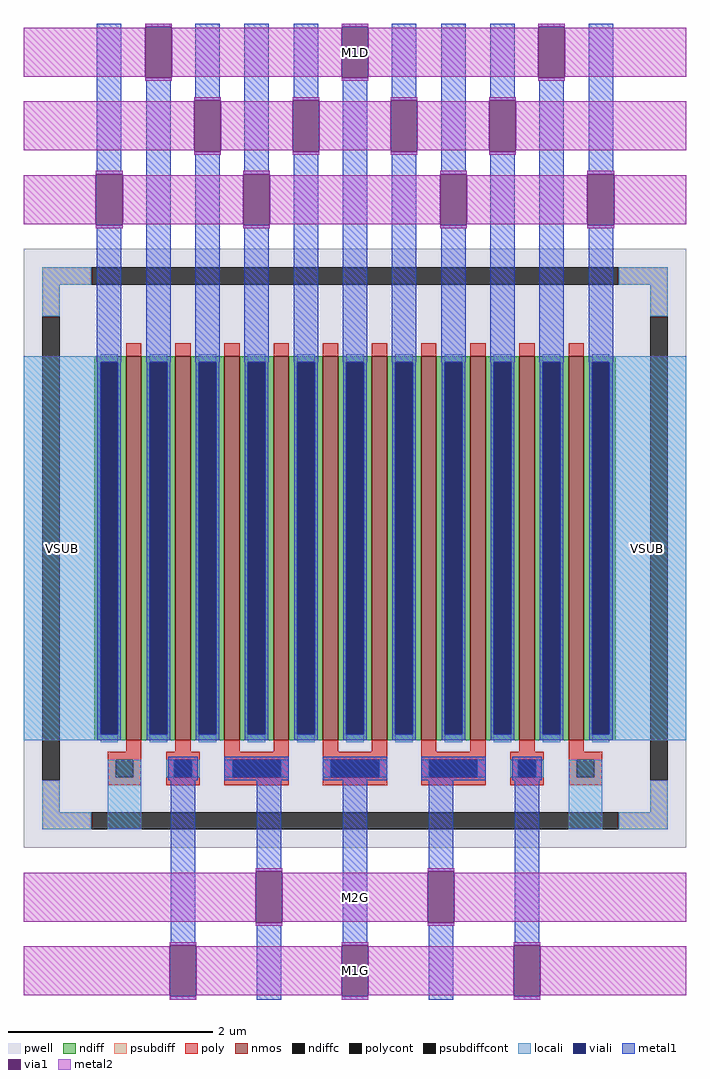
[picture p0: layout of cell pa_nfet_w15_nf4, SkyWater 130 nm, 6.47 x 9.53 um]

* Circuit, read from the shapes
.subckt pa_nfet_w15_nf4 VSUB M1G M2G M1D
XM1 M1D VSUB VSUB VSUB sky130_fd_pr__nfet_01v8 w=3.75 l=0.15 m=2
XM2 n1 M1G M1D VSUB sky130_fd_pr__nfet_01v8 w=3.75 l=0.15 m=4
XM3 VSUB M2G n1 VSUB sky130_fd_pr__nfet_01v8 w=3.75 l=0.15 m=4
.ends

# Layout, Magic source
magic
tech sky130A
magscale 1 2
<< pwell >>
rect -134 188 -24 938
rect 1050 188 1160 938
rect 30 14 96 150
rect 930 14 996 150
<< locali >>
rect -134 188 16 938
rect 1010 188 1160 938
rect 30 14 96 150
rect 930 14 996 150
<< metal1 >>
rect 9 1300 57 1588
rect 103 1582 155 1588
rect 103 1476 155 1482
rect 7 1294 59 1300
rect 7 1188 59 1194
rect 9 926 57 1188
rect 105 926 153 1476
rect 201 1444 249 1588
rect 199 1438 251 1444
rect 199 1332 251 1338
rect 201 926 249 1332
rect 297 1300 345 1588
rect 393 1444 441 1588
rect 487 1582 539 1588
rect 487 1476 539 1482
rect 391 1438 443 1444
rect 391 1332 443 1338
rect 295 1294 347 1300
rect 295 1188 347 1194
rect 297 926 345 1188
rect 393 926 441 1332
rect 489 926 537 1476
rect 585 1444 633 1588
rect 583 1438 635 1444
rect 583 1332 635 1338
rect 585 926 633 1332
rect 681 1300 729 1588
rect 777 1444 825 1588
rect 871 1582 923 1588
rect 871 1476 923 1482
rect 775 1438 827 1444
rect 775 1332 827 1338
rect 679 1294 731 1300
rect 679 1188 731 1194
rect 681 926 729 1188
rect 777 926 825 1332
rect 873 926 921 1476
rect 969 1300 1017 1588
rect 967 1294 1019 1300
rect 967 1188 1019 1194
rect 969 926 1017 1188
rect 153 -206 201 156
rect 258 110 384 156
rect 450 110 576 156
rect 642 110 768 156
rect 321 -62 369 110
rect 319 -68 371 -62
rect 319 -174 371 -168
rect 151 -212 203 -206
rect 151 -318 203 -312
rect 321 -318 369 -174
rect 489 -206 537 110
rect 657 -62 705 110
rect 655 -68 707 -62
rect 655 -174 707 -168
rect 487 -212 539 -206
rect 487 -318 539 -312
rect 657 -318 705 -174
rect 825 -206 873 156
rect 823 -212 875 -206
rect 823 -318 875 -312
<< via1 >>
rect 103 1482 155 1582
rect 7 1194 59 1294
rect 199 1338 251 1438
rect 487 1482 539 1582
rect 391 1338 443 1438
rect 295 1194 347 1294
rect 583 1338 635 1438
rect 871 1482 923 1582
rect 775 1338 827 1438
rect 679 1194 731 1294
rect 967 1194 1019 1294
rect 319 -168 371 -68
rect 151 -312 203 -212
rect 655 -168 707 -68
rect 487 -312 539 -212
rect 823 -312 875 -212
<< metal2 >>
rect 103 1582 155 1588
rect -134 1484 103 1580
rect 487 1582 539 1588
rect 155 1484 487 1580
rect 103 1476 155 1482
rect 871 1582 923 1588
rect 539 1484 871 1580
rect 487 1476 539 1482
rect 923 1484 1160 1580
rect 871 1476 923 1482
rect 199 1438 251 1444
rect -134 1340 199 1436
rect 391 1438 443 1444
rect 251 1340 391 1436
rect 199 1332 251 1338
rect 583 1438 635 1444
rect 443 1340 583 1436
rect 391 1332 443 1338
rect 775 1438 827 1444
rect 635 1340 775 1436
rect 583 1332 635 1338
rect 827 1340 1160 1436
rect 775 1332 827 1338
rect 7 1294 59 1300
rect -134 1196 7 1292
rect 295 1294 347 1300
rect 59 1196 295 1292
rect 7 1188 59 1194
rect 679 1294 731 1300
rect 347 1196 679 1292
rect 295 1188 347 1194
rect 967 1294 1019 1300
rect 731 1196 967 1292
rect 679 1188 731 1194
rect 1019 1196 1160 1292
rect 967 1188 1019 1194
rect 319 -68 371 -62
rect -134 -166 319 -70
rect 655 -68 707 -62
rect 371 -166 655 -70
rect 319 -174 371 -168
rect 707 -166 1160 -70
rect 655 -174 707 -168
rect 151 -212 203 -206
rect -134 -310 151 -214
rect 487 -212 539 -206
rect 203 -310 487 -214
rect 151 -318 203 -312
rect 823 -212 875 -206
rect 539 -310 823 -214
rect 487 -318 539 -312
rect 875 -310 1160 -214
rect 823 -318 875 -312
use sky130_fd_pr__nfet_01v8_QMBXET  sky130_fd_pr__nfet_01v8_QMBXET_0
transform 1 0 513 0 1 563
box -647 -585 647 585
<< labels >>
flabel locali -134 188 16 938 0 FreeSans 320 0 0 0 VSUB
port 0 nsew
flabel locali 1010 188 1160 938 0 FreeSans 320 0 0 0 VSUB
port 0 nsew
flabel metal2 -134 1484 1160 1580 0 FreeSans 400 0 0 0 M1D
port 3 nsew
flabel metal2 -134 -310 1160 -214 0 FreeSans 400 0 0 0 M1G
port 1 nsew
flabel metal2 -134 -166 1160 -70 0 FreeSans 400 0 0 0 M2G
port 2 nsew
<< end >>

# cell sky130_fd_pr__nfet_01v8_QMBXET: kit device sky130_fd_pr__nfet_01v8, w 3.75 l 0.150 m 1 nf 10 diffcov 100 polycov 100 guard 1 glc 1 grc 1 gtc 1 gbc 1 tbcov 100 rlcov 100 topc 1 botc 1 poverlap 0 doverlap 1 lmin 0.15 wmin 0.42 compatible {sky130_fd_pr__nfet_01v8 sky130_fd_pr__nfet_01v8_lvt sky130_fd_bs_flash__special_sonosfet_star sky130_fd_pr__nfet_g5v0d10v5 sky130_fd_pr__nfet_05v0_nvt sky130_fd_pr__nfet_03v3_nvt} full_metal 1 viasrc 100 viadrn 100 viagate 100 viagb 0 viagr 0 viagl 0 viagt 0
